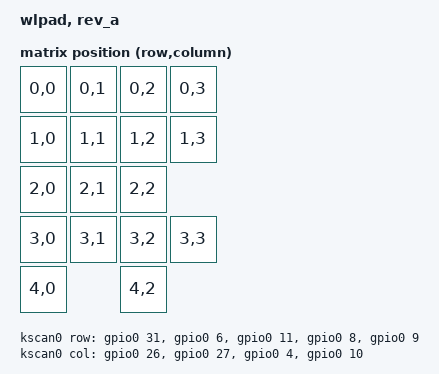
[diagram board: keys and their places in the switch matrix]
/*
 * Copyright (c) 2020 The ZMK Contributors
 *
 * SPDX-License-Identifier: MIT
 */

/dts-v1/;
#include <nordic/nrf52840_qiaa.dtsi>
#include <dt-bindings/zmk/matrix_transform.h>

/ {
	model = "wlpad, rev_a";
	compatible = "wlpad,rev_a";

	chosen {
		zephyr,code-partition = &code_partition;
		zephyr,sram = &sram0;
		zephyr,flash = &flash0;
		zmk,battery = &fuelgauge;
		zmk,kscan = &kscan0;
		zmk,matrix_transform = &default_transform;
	};

	default_transform: keymap_transform_0 {
		compatible = "zmk,matrix-transform";
		columns = <7>;
		rows = <12>;
		map = <
			RC(0,0)  RC(0,1)  RC(0,2)  RC(0,3)
			RC(1,0)  RC(1,1)  RC(1,2)  RC(1,3)
			RC(2,0)  RC(2,1)  RC(2,2)
			RC(3,0)  RC(3,1)  RC(3,2)  RC(3,3)
			RC(4,0)           RC(4,2)
			>;
	};

 
	kscan0: kscan {
		compatible = "zmk,kscan-gpio-matrix";
		label = "KSCAN";
		diode-direction = "col2row";
		row-gpios
			= <&gpio0 31 (GPIO_ACTIVE_HIGH | GPIO_PULL_DOWN)>
			, <&gpio0  6 (GPIO_ACTIVE_HIGH | GPIO_PULL_DOWN)>
			, <&gpio0 11 (GPIO_ACTIVE_HIGH | GPIO_PULL_DOWN)>
			, <&gpio0  8 (GPIO_ACTIVE_HIGH | GPIO_PULL_DOWN)>
			, <&gpio0  9 (GPIO_ACTIVE_HIGH | GPIO_PULL_DOWN)>
			;
		col-gpios
			= <&gpio0 26 GPIO_ACTIVE_HIGH>
			, <&gpio0 27 GPIO_ACTIVE_HIGH>
			, <&gpio0  4 GPIO_ACTIVE_HIGH>
			, <&gpio0 10 GPIO_ACTIVE_HIGH>
			;
	};
};

&gpio0 {
	status = "okay";
};

&gpio1 {
	status = "okay";
};

&usbd {
	status = "okay";
};

&pinctrl {
       i2c0_default: i2c0_default {
               group1 {
                       psels = <NRF_PSEL(TWIM_SDA, 0, 7)>,
                               <NRF_PSEL(TWIM_SCL, 0, 5)>;
               };
       };

       i2c0_sleep: i2c0_sleep {
               group1 {
                       psels = <NRF_PSEL(TWIM_SDA, 0, 7)>,
                               <NRF_PSEL(TWIM_SCL, 0, 5)>;
                       low-power-enable;
               };
       };
};

&i2c0 {
	status = "okay";
	compatible = "nordic,nrf-twim";
	pinctrl-0 = <&i2c0_default>;
    pinctrl-1 = <&i2c0_sleep>;
    pinctrl-names = "default", "sleep";
	clock-frequency = <100000>;

	fuelgauge: max17048@36 {
		compatible = "maxim,max17048";
		label = "BATTERY";
		reg = <0x36>;
	};
};

&flash0 {
	/*
	 * For more information, see:
	 * http://docs.zephyrproject.org/latest/devices/dts/flash_partitions.html
	 */
	partitions {
		compatible = "fixed-partitions";
		#address-cells = <1>;
		#size-cells = <1>;

		sd_partition: partition@0 {
			label = "softdevice";
			reg = <0x00000000 0x00026000>;
		};
		code_partition: partition@26000 {
			label = "code_partition";
			reg = <0x00026000 0x000c6000>;
		};

		/*
		 * The flash starting at 0x000ec000 and ending at
		 * 0x000f3fff is reserved for use by the application.
		 */

		/*
		 * Storage partition will be used by FCB/LittleFS/NVS
		 * if enabled.
		 */
		storage_partition: partition@ec000 {
			label = "storage";
			reg = <0x000ec000 0x00008000>;
		};

		boot_partition: partition@f4000 {
			label = "adafruit_boot";
			reg = <0x000f4000 0x0000c000>;
		};
	};
};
